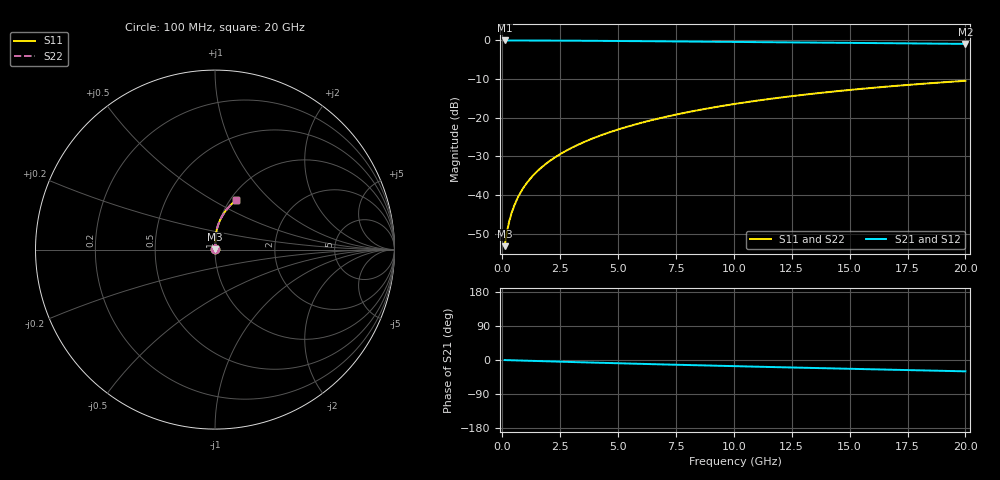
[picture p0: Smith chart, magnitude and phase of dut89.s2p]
! Touchstone file exported from HFSS 2024.1.0
!  File:  C:/UserFiles/LocalFiles/RDL_TSV_Batchsim/temp_RDL_top_89_1778682790.aedt
!  Generated:  10:35:23 PM May 13, 2026
!  Design:  RDL_top
!  Project:  temp_RDL_top_89_1778682790
!  Setup:  Setup1
!  Solution:  Sweep
! Variables:
!  dtsv = 10.80580581um
!  hbump = 3um
!  htsv = 52.15um
!  ldown = 100um
!  lrdl = 404.23um
!  p = 40
!  p1 = 53.97um
!  rhole = 1um
!  t = 450um
!  tdown = 3.915915916um
!  trdl = 4.29um
!  wdown = 15.38538539um
!  wrdl = 23.17um
# GHz S MA R 50.000000
! Terminal data exported
! Port[1] = Box2_T1
! Port[2] = Box2_T2
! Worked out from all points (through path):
!   200 points, 100 MHz to 20 GHz, reference 50 ohm
!   highest |S21| = -0.01 dB at 100 MHz (marker M1); lowest = -0.9 dB at 20 GHz (marker M2)
!   group delay of S21, straight-line fit = 4.1 ps
!   lowest |S11| = -53.2 dB at 100 MHz (marker M3), VSWR 1.00, Z = 50.2 + j0.146 ohm
!   |S11| at or under -10 dB: start of sweep to end of sweep
!   |S22| runs from -53.2 to -10.4 dB; largest |S21 - S12| = 3e-15
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0.1  0.002178 41.9  0.9984 -0.2  0.9984 -0.2  0.002178 41.9
! Gamma 0 0 0 0
! Port Impedance 50 0 50 0
0.2  0.003324 59.0  0.9983 -0.4  0.9983 -0.4  0.003324 59.0
0.3  0.00456 66.8  0.9981 -0.6  0.9981 -0.6  0.00456 66.8
0.4  0.005813 71.4  0.998 -0.7  0.998 -0.7  0.005813 71.4
0.5  0.007075 74.5  0.9979 -0.9  0.9979 -0.9  0.007075 74.5
0.6  0.008348 76.7  0.9978 -1.1  0.9978 -1.1  0.008348 76.7
0.8  0.01092 79.8  0.9975 -1.5  0.9975 -1.5  0.01092 79.8
1.1  0.01484 82.5  0.9971 -2.0  0.9971 -2.0  0.01484 82.5
1.5  0.02015 84.6  0.9963 -2.7  0.9963 -2.7  0.02015 84.6
1.8  0.02419 85.6  0.9956 -3.2  0.9956 -3.2  0.02419 85.6
2.1  0.02828 86.3  0.9948 -3.8  0.9948 -3.8  0.02828 86.3
2.7  0.0366 87.1  0.9928 -4.8  0.9928 -4.8  0.0366 87.1
3.5  0.04801 87.6  0.9897 -6.2  0.9897 -6.2  0.04801 87.6
4.2  0.05829 87.7  0.9866 -7.3  0.9866 -7.3  0.05829 87.7
5  0.07036 87.4  0.9828 -8.6  0.9828 -8.6  0.07036 87.4
5.9  0.08429 86.8  0.9782 -10.1  0.9782 -10.1  0.0843 86.8
6.8  0.09851 85.9  0.9735 -11.5  0.9735 -11.5  0.09851 85.9
8.4  0.1242 84.0  0.9649 -13.9  0.9649 -13.9  0.1242 84.0
10.1  0.1517 81.6  0.9558 -16.4  0.9558 -16.4  0.1517 81.6
13.4  0.2041 76.6  0.9381 -21.0  0.9381 -21.0  0.2041 76.6
16.7  0.2539 71.6  0.92 -25.5  0.92 -25.5  0.2539 71.6
20  0.3003 66.7  0.9014 -29.9  0.9014 -29.9  0.3003 66.7
